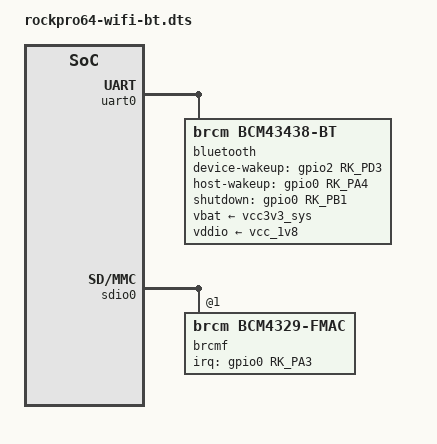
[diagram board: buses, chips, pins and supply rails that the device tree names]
#include <dt-bindings/gpio/gpio.h>
#include <dt-bindings/pinctrl/rockchip.h>

/dts-v1/;
/plugin/;

/{
	compatible = "pine64,rockpro64";

	fragment@0 {
		target = <&pinctrl>;
		__overlay__ {
			wireless-bluetooth {
				bt_host_wake_l: bt-host-wake-l {
					rockchip,pins = <0 RK_PA4 RK_FUNC_GPIO &pcfg_pull_none>;
				};

				bt_reg_on_h: bt-reg-on-h {
					/* external pullup to VCC1V8_PMUPLL */
					rockchip,pins = <0 RK_PB1 RK_FUNC_GPIO &pcfg_pull_none>;
				};

				bt_wake_l: bt-wake-l {
					rockchip,pins = <2 RK_PD3 RK_FUNC_GPIO &pcfg_pull_none>;
				};
			};
			
			wireless-wlan {
				wifi_host_wake_l: wifi-host-wake-l {
					rockchip,pins = <0 RK_PA3 RK_FUNC_GPIO &pcfg_pull_none>;
				};
			};
		};
	};

	fragment@1 {
		target = <&uart0>;
		__overlay__ {
		        pinctrl-0 = <&uart0_xfer &uart0_cts &uart0_rts>;

			bluetooth {
				compatible = "brcm,bcm43438-bt";
				clocks = <&rk808 1>;
				clock-names = "lpo";
				device-wakeup-gpios = <&gpio2 RK_PD3 GPIO_ACTIVE_HIGH>;
				host-wakeup-gpios = <&gpio0 RK_PA4 GPIO_ACTIVE_HIGH>;
				shutdown-gpios = <&gpio0 RK_PB1 GPIO_ACTIVE_HIGH>;
				max-speed = <4000000>;
				pinctrl-names = "default";
				pinctrl-0 = <&bt_reg_on_h &bt_host_wake_l &bt_wake_l>;
				vbat-supply = <&vcc3v3_sys>;
				vddio-supply = <&vcc_1v8>;
			};
		};
	};

	fragment@2 {
		target = <&sdio0>;
		__overlay__ {
			brcmf: wifi@1 {
				reg = <1>;
				compatible = "brcm,bcm4329-fmac";
				interrupt-parent = <&gpio0>;
				interrupts = <RK_PA3 GPIO_ACTIVE_HIGH>;
				interrupt-names = "host-wake";
				brcm,drive-strength = <5>;
				pinctrl-names = "default";
				pinctrl-0 = <&wifi_host_wake_l>;
			};
		};
	};
};
